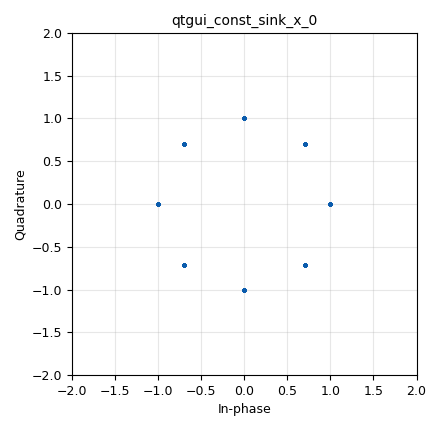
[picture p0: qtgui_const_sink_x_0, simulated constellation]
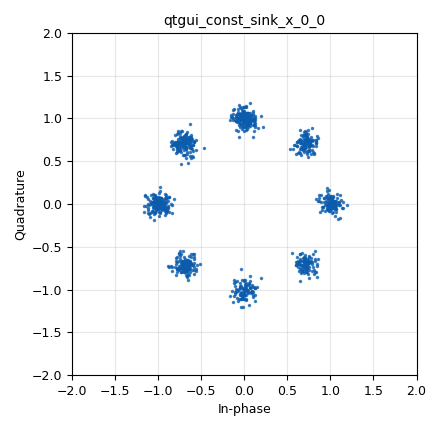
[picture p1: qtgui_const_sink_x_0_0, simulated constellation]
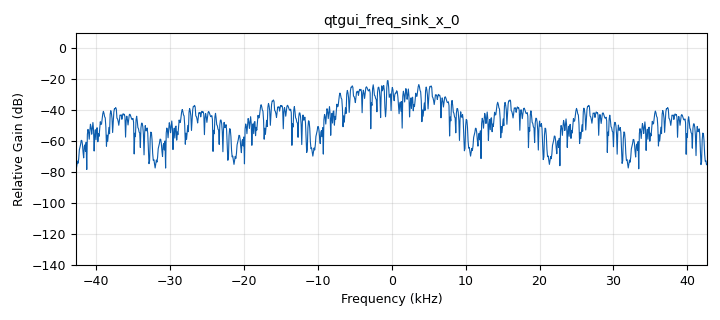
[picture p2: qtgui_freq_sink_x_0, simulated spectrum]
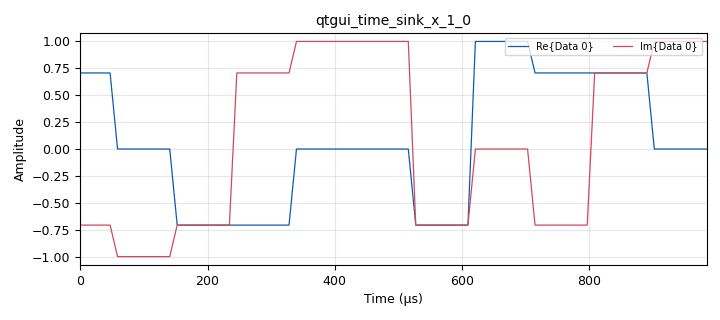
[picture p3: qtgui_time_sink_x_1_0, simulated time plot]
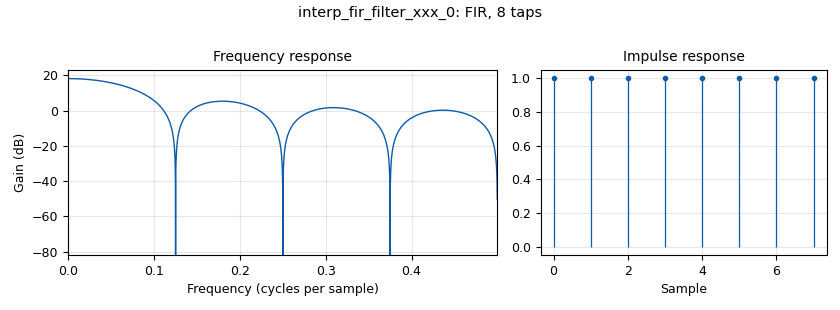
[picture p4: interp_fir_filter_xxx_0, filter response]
options:
  parameters:
    generate_options: qt_gui
    id: nojoda
    output_language: python
    title: top_block
  states: {}

blocks:
- name: H
  id: variable
  parameters:
    value: (1.,1.,1.,1.,1.,1.,1.,1.,)
  states: {}
- name: M
  id: variable
  parameters:
    value: '8'
  states: {}
- name: Nbs
  id: variable
  parameters:
    value: int(math.log(M,2))
  states: {}
- name: Rs
  id: variable
  parameters:
    value: rb/Nbs
  states: {}
- name: Samp_rate
  id: variable
  parameters:
    value: Rs*Sps
  states: {}
- name: Sps
  id: variable
  parameters:
    value: len(H)
  states: {}
- name: rb
  id: variable
  parameters:
    value: '32000'
  states: {}
- name: analog_const_source_x_0
  id: analog_const_source_x
  parameters:
    const: '1'
    type: float
  states: {}
- name: analog_noise_source_x_0
  id: analog_noise_source_x
  parameters:
    amp: '0.1'
    noise_type: analog.GR_GAUSSIAN
    seed: '0'
    type: complex
  states: {}
- name: analog_random_source_x_0
  id: analog_random_source_x
  parameters:
    max: '2'
    min: '0'
    num_samps: '1000'
    repeat: 'True'
    type: byte
  states: {}
- name: b_PSD_c_0
  id: b_PSD_c
  parameters:
    Ensayos: int(1e6)
    Fc: '0'
    N: '1024'
    Ymax: '6e-6'
    samp_rate_audio: Samp_rate
  states: {}
- name: blocks_add_xx_0
  id: blocks_add_xx
  parameters:
    type: complex
  states: {}
- name: blocks_char_to_float_1
  id: blocks_char_to_float
  parameters:
    scale: '1'
  states: {}
- name: blocks_multiply_const_vxx_0
  id: blocks_multiply_const_vxx
  parameters:
    const: math.pi*2/M
    type: float
  states: {}
- name: blocks_repack_bits_bb_0
  id: blocks_repack_bits_bb
  parameters:
    endianness: gr.GR_LSB_FIRST
    k: '1'
    l: Nbs
  states: {}
- name: epy_block_0
  id: epy_block
  parameters:
    _source_code: |
      """
      Embedded Python Blocks:

      Each time this file is saved, GRC will instantiate the first class it finds
      to get ports and parameters of your block. The arguments to __init__  will
      be the parameters. All of them are required to have default values!
      """

      import numpy as np
      from gnuradio import gr


      class blk(gr.sync_block):  # other base classes are basic_block, decim_block, interp_block
          """Embedded Python Block example - a simple multiply const"""

          def __init__(self, example_param=1.0):  # only default arguments here
              """arguments to this function show up as parameters in GRC"""
              gr.sync_block.__init__(
                  self,
                  name='VCO complex',   # will show up in GRC
                  in_sig=[np.float32,np.float32],
                  out_sig=[np.complex64]
              )
              # if an attribute with the same name as a parameter is found,
              # a callback is registered (properties work, too).
              self.example_param = example_param

          def work(self, input_items, output_items):
          	Q= input_items [0]
          	A= input_items [1]
          	Sec= output_items [0]
          	Sec [:] = A*np.exp(1.j*Q)
          	return len(Sec)
    example_param: '1.0'
  states: {}
- name: import_0
  id: import
  parameters:
    imports: import math
  states: {}
- name: interp_fir_filter_xxx_0
  id: interp_fir_filter_xxx
  parameters:
    interp: '8'
    taps: H
    type: ccc
  states: {}
- name: qtgui_const_sink_x_0
  id: qtgui_const_sink_x
  parameters:
    size: '1024'
    type: complex
  states: {}
- name: qtgui_const_sink_x_0_0
  id: qtgui_const_sink_x
  parameters:
    size: '1024'
    type: complex
  states: {}
- name: qtgui_freq_sink_x_0
  id: qtgui_freq_sink_x
  parameters:
    bw: Samp_rate
    fc: '0'
    fftsize: '1024'
    type: complex
  states: {}
- name: qtgui_time_sink_x_1_0
  id: qtgui_time_sink_x
  parameters:
    color1: red
    color2: blue
    label1: Signal 4
    size: int(32*Sps/Nbs)
    srate: Samp_rate
    type: complex
    width1: '3'
    width2: '3'
  states: {}

connections:
- [analog_const_source_x_0, '0', epy_block_0, '1']
- [analog_noise_source_x_0, '0', blocks_add_xx_0, '1']
- [analog_random_source_x_0, '0', blocks_repack_bits_bb_0, '0']
- [blocks_add_xx_0, '0', qtgui_const_sink_x_0_0, '0']
- [blocks_char_to_float_1, '0', blocks_multiply_const_vxx_0, '0']
- [blocks_multiply_const_vxx_0, '0', epy_block_0, '0']
- [blocks_repack_bits_bb_0, '0', blocks_char_to_float_1, '0']
- [epy_block_0, '0', interp_fir_filter_xxx_0, '0']
- [epy_block_0, '0', qtgui_const_sink_x_0, '0']
- [interp_fir_filter_xxx_0, '0', b_PSD_c_0, '0']
- [interp_fir_filter_xxx_0, '0', blocks_add_xx_0, '0']
- [interp_fir_filter_xxx_0, '0', qtgui_freq_sink_x_0, '0']
- [interp_fir_filter_xxx_0, '0', qtgui_time_sink_x_1_0, '0']

metadata:
  file_format: 1
  grc_version: 3.9.8.0
